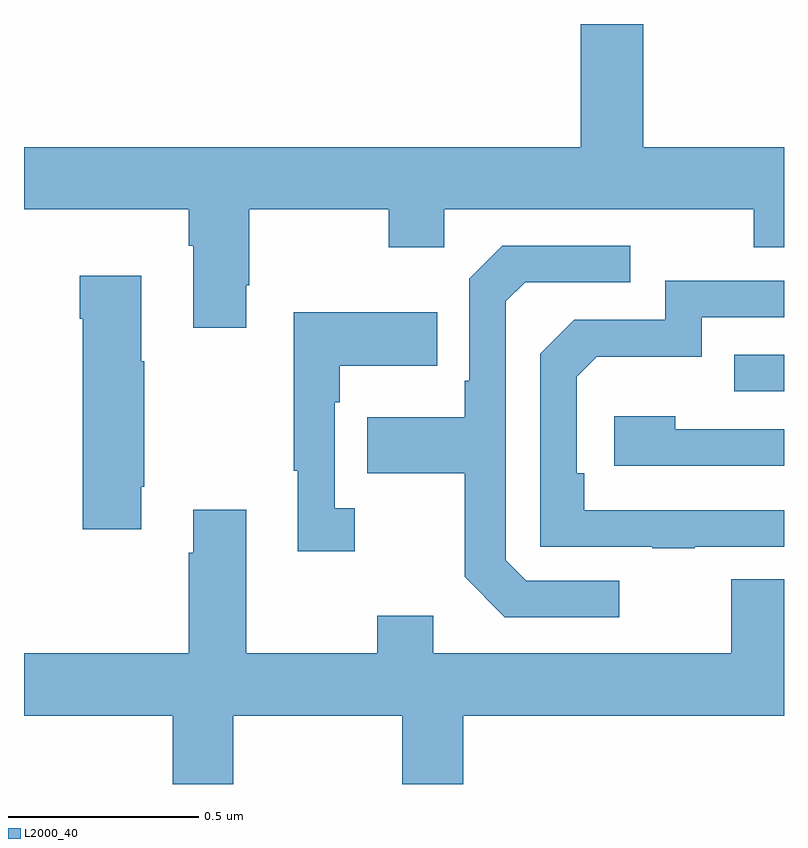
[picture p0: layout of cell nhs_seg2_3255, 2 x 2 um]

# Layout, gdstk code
import gdstk
lib = gdstk.Library(unit=1e-6, precision=1e-09)
def R(c, l, rs):  # rectangles x0, y0, x1, y1
    for r in rs: c.add(gdstk.rectangle(r[:2], r[2:], *l))
def P(c, l, *ps):  # polygons
    for p in ps: c.add(gdstk.Polygon(p, *l))
L2000_40 = (2000, 40)

nhs_seg2_3255 = lib.new_cell('nhs_seg2_3255')
R(nhs_seg2_3255, L2000_40, [(152.869,637.833,153,637.929)])
P(nhs_seg2_3255, L2000_40, [(151.585,638.113),(151.593,638.113),(151.593,638.312),(151.96,638.312),(151.96,638.213),(152.106,638.213),(152.106,638.312),(152.92,638.312),(152.92,638.213),(153,638.213),(153,638.476),(152.629,638.476),(152.629,638.8),(152.465,638.8),(152.465,638.476),(151,638.476),(151,638.312),(151.433,638.312),(151.433,638.216),(151.445,638.216),(151.445,638.001),(151.585,638.001)],
  [(152.566,637.335),(152.322,637.335),(152.268,637.389),(152.268,638.07),(152.319,638.121),(152.596,638.121),(152.596,638.217),(152.259,638.217),(152.172,638.13),(152.172,637.861),(152.16,637.861),(152.16,637.765),(151.903,637.765),(151.903,637.618),(152.16,637.618),(152.16,637.345),(152.265,637.239),(152.566,637.239)],
  [(151.309,637.582),(151.317,637.582),(151.317,637.913),(151.309,637.913),(151.309,638.137),(151.147,638.137),(151.147,638.024),(151.154,638.024),(151.154,637.47),(151.309,637.47)],
  [(152.765,637.425),(153,637.425),(153,637.521),(152.474,637.521),(152.474,637.618),(152.454,637.618),(152.454,637.872),(152.507,637.925),(152.784,637.925),(152.784,638.028),(153,638.028),(153,638.124),(152.688,638.124),(152.688,638.022),(152.448,638.022),(152.358,637.932),(152.358,637.425),(152.653,637.425),(152.653,637.42),(152.765,637.42)],
  [(151.87,637.526),(151.818,637.526),(151.818,637.805),(151.831,637.805),(151.831,637.901),(152.087,637.901),(152.087,638.041),(151.71,638.041),(151.71,637.625),(151.721,637.625),(151.721,637.413),(151.87,637.413)],
  [(153,637.734),(152.714,637.734),(152.714,637.768),(152.553,637.768),(152.553,637.638),(153,637.638)],
  [(151.551,636.98),(151.996,636.98),(151.996,636.8),(152.156,636.8),(152.156,636.98),(153,636.98),(153,637.339),(152.861,637.339),(152.861,637.144),(152.077,637.144),(152.077,637.243),(151.93,637.243),(151.93,637.144),(151.585,637.144),(151.585,637.522),(151.445,637.522),(151.445,637.409),(151.433,637.409),(151.433,637.144),(151,637.144),(151,636.98),(151.391,636.98),(151.391,636.8),(151.551,636.8)])

lib.write_gds('nhs_seg2_3255.gds')
